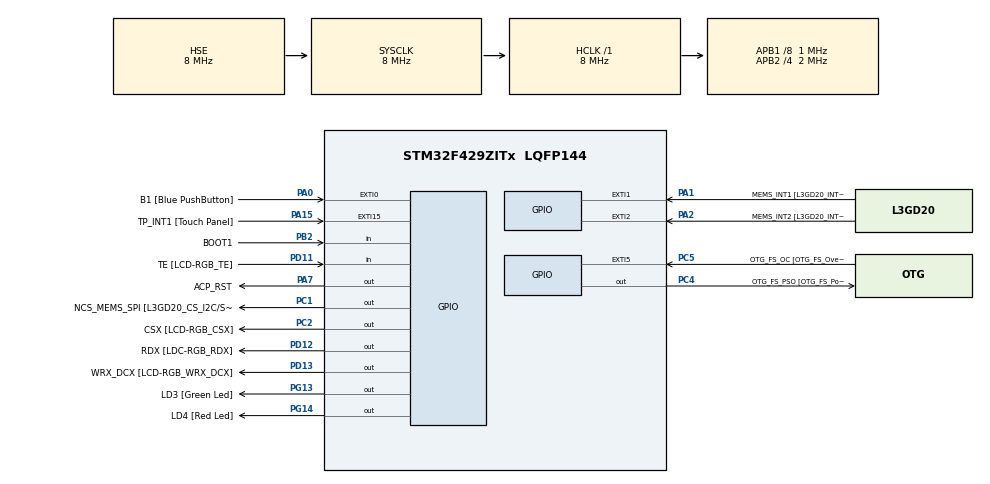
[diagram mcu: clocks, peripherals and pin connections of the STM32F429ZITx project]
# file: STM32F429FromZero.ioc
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Mcu.Family=STM32F4
Mcu.Name=STM32F429ZITx
Mcu.Package=LQFP144
NVIC.PriorityGroup=NVIC_PRIORITYGROUP_0
PA0/WKUP.GPIO_Label=B1 [Blue PushButton]
PA0/WKUP.GPIO_ModeDefaultEXTI=GPIO_MODE_EVT_RISING
PA0/WKUP.GPIO_PuPd=GPIO_NOPULL
PA0/WKUP.Signal=GPXTI0
PA1.GPIO_Label=MEMS_INT1 [L3GD20_INT1]
PA1.GPIO_ModeDefaultEXTI=GPIO_MODE_EVT_RISING
PA1.GPIO_PuPd=GPIO_NOPULL
PA1.Signal=GPXTI1
PA10.GPIO_Label=STLINK_TX [STM32F103CBT6_PA2]
PA10.Signal=USART1_RX
PA11.GPIO_Label=R4
PA11.GPIO_Mode=GPIO_MODE_AF_PP
PA11.GPIO_PuPd=GPIO_NOPULL
PA11.GPIO_Speed=GPIO_SPEED_FREQ_LOW
PA11.Signal=LTDC_R4
PA12.GPIO_Label=R5
PA12.GPIO_Mode=GPIO_MODE_AF_PP
PA12.GPIO_PuPd=GPIO_NOPULL
PA12.GPIO_Speed=GPIO_SPEED_FREQ_LOW
PA12.Signal=LTDC_R5
PA13.GPIO_Label=SWDIO
PA13.Signal=SYS_JTMS-SWDIO
PA14.GPIO_Label=SWCLK
PA14.Signal=SYS_JTCK-SWCLK
PA15.GPIO_Label=TP_INT1 [Touch Panel]
PA15.GPIO_ModeDefaultEXTI=GPIO_MODE_EVT_RISING
PA15.GPIO_PuPd=GPIO_NOPULL
PA15.Signal=GPXTI15
PA2.GPIO_Label=MEMS_INT2 [L3GD20_INT2]
PA2.GPIO_ModeDefaultEXTI=GPIO_MODE_EVT_RISING
PA2.GPIO_PuPd=GPIO_NOPULL
PA2.Signal=GPXTI2
PA3.GPIO_Label=B5
PA3.GPIO_Mode=GPIO_MODE_AF_PP
PA3.GPIO_PuPd=GPIO_NOPULL
PA3.GPIO_Speed=GPIO_SPEED_FREQ_LOW
PA3.Signal=LTDC_B5
PA4.GPIO_Label=VSYNC
PA4.GPIO_Mode=GPIO_MODE_AF_PP
PA4.GPIO_PuPd=GPIO_NOPULL
PA4.GPIO_Speed=GPIO_SPEED_FREQ_LOW
PA4.Signal=LTDC_VSYNC
PA6.GPIO_Label=G2
PA6.GPIO_Mode=GPIO_MODE_AF_PP
PA6.GPIO_PuPd=GPIO_NOPULL
PA6.GPIO_Speed=GPIO_SPEED_FREQ_LOW
PA6.Signal=LTDC_G2
PA7.GPIO_Label=ACP_RST
PA7.GPIO_Mode=GPIO_MODE_OUTPUT_PP
PA7.GPIO_PuPd=GPIO_NOPULL
PA7.GPIO_Speed=GPIO_SPEED_FREQ_LOW
PA7.Signal=GPIO_Output
PA8.GPIO_Label=I2C3_SCL [ACP/RF_SCL]
PA8.GPIO_Mode=GPIO_MODE_AF_OD
PA8.GPIO_PuPd=GPIO_NOPULL
PA8.GPIO_Speed=GPIO_SPEED_FREQ_LOW
PA8.Signal=I2C3_SCL
PA9.GPIO_Label=STLINK_RX [STM32F103CBT6_PA3]
PA9.Signal=USART1_TX
PB0.GPIO_Label=R3
PB0.GPIO_Mode=GPIO_MODE_AF_PP
PB0.GPIO_PuPd=GPIO_NOPULL
PB0.GPIO_Speed=GPIO_SPEED_FREQ_LOW
PB0.Signal=LTDC_R3
PB1.GPIO_Label=R6
PB1.GPIO_Mode=GPIO_MODE_AF_PP
PB1.GPIO_PuPd=GPIO_NOPULL
PB1.GPIO_Speed=GPIO_SPEED_FREQ_LOW
PB1.Signal=LTDC_R6
PB10.GPIO_Label=G4
PB10.GPIO_Mode=GPIO_MODE_AF_PP
PB10.GPIO_PuPd=GPIO_NOPULL
PB10.GPIO_Speed=GPIO_SPEED_FREQ_LOW
PB10.Signal=LTDC_G4
PB11.GPIO_Label=G5
PB11.GPIO_Mode=GPIO_MODE_AF_PP
PB11.GPIO_PuPd=GPIO_NOPULL
PB11.GPIO_Speed=GPIO_SPEED_FREQ_LOW
PB11.Signal=LTDC_G5
PB12.GPIO_Label=OTG_HS_ID
PB12.GPIO_Mode=GPIO_MODE_AF_PP
PB12.GPIO_PuPd=GPIO_NOPULL
PB12.GPIO_Speed=GPIO_SPEED_FREQ_LOW
PB12.Signal=USB_OTG_HS_ID
PB13.GPIO_Label=VBUS_HS
PB13.GPIO_Mode=GPIO_MODE_INPUT
PB13.GPIO_PuPd=GPIO_NOPULL
PB13.Signal=USB_OTG_HS_VBUS
PB14.GPIO_Label=OTG_HS_DM
PB14.GPIO_Mode=GPIO_MODE_AF_PP
PB14.GPIO_PuPd=GPIO_NOPULL
PB14.GPIO_Speed=GPIO_SPEED_FREQ_LOW
PB14.Signal=USB_OTG_HS_DM
PB15.GPIO_Label=OTG_HS_DP
PB15.GPIO_Mode=GPIO_MODE_AF_PP
PB15.GPIO_PuPd=GPIO_NOPULL
PB15.GPIO_Speed=GPIO_SPEED_FREQ_LOW
PB15.Signal=USB_OTG_HS_DP
PB2/BOOT1.GPIO_Label=BOOT1
PB2/BOOT1.GPIO_Mode=GPIO_MODE_INPUT
PB2/BOOT1.GPIO_PuPd=GPIO_NOPULL
PB2/BOOT1.Signal=GPIO_Input
PB5.GPIO_Label=SDCKE1
PB5.GPIO_Mode=GPIO_MODE_AF_PP
PB5.GPIO_PuPd=GPIO_NOPULL
PB5.GPIO_Speed=GPIO_SPEED_FREQ_VERY_HIGH
PB5.Signal=FMC_SDCKE1
PB6.GPIO_Label=SDNE1 [SDRAM_CS]
PB6.GPIO_Mode=GPIO_MODE_AF_PP
PB6.GPIO_PuPd=GPIO_NOPULL
PB6.GPIO_Speed=GPIO_SPEED_FREQ_VERY_HIGH
PB6.Signal=FMC_SDNE1
PB8.GPIO_Label=B6
PB8.GPIO_Mode=GPIO_MODE_AF_PP
PB8.GPIO_PuPd=GPIO_NOPULL
PB8.GPIO_Speed=GPIO_SPEED_FREQ_LOW
PB8.Signal=LTDC_B6
PB9.GPIO_Label=B7
PB9.GPIO_Mode=GPIO_MODE_AF_PP
PB9.GPIO_PuPd=GPIO_NOPULL
PB9.GPIO_Speed=GPIO_SPEED_FREQ_LOW
PB9.Signal=LTDC_B7
PC0.GPIO_Label=SDNWE
PC0.GPIO_Mode=GPIO_MODE_AF_PP
PC0.GPIO_PuPd=GPIO_NOPULL
PC0.GPIO_Speed=GPIO_SPEED_FREQ_VERY_HIGH
PC0.Signal=FMC_SDNWE
PC1.GPIO_Label=NCS_MEMS_SPI [L3GD20_CS_I2C/SPI]
PC1.GPIO_Mode=GPIO_MODE_OUTPUT_PP
PC1.GPIO_PuPd=GPIO_NOPULL
PC1.GPIO_Speed=GPIO_SPEED_FREQ_LOW
PC1.Signal=GPIO_Output
PC10.GPIO_Label=R2
PC10.GPIO_Mode=GPIO_MODE_AF_PP
PC10.GPIO_PuPd=GPIO_NOPULL
PC10.GPIO_Speed=GPIO_SPEED_FREQ_LOW
PC10.Signal=LTDC_R2
PC14/OSC32_IN.GPIO_Label=PC14-OSC32_IN
PC14/OSC32_IN.Signal=RCC_OSC32_IN
PC15/OSC32_OUT.GPIO_Label=PC15-OSC32_OUT
PC15/OSC32_OUT.Signal=RCC_OSC32_OUT
PC2.GPIO_Label=CSX [LCD-RGB_CSX]
PC2.GPIO_Mode=GPIO_MODE_OUTPUT_PP
PC2.GPIO_PuPd=GPIO_NOPULL
PC2.GPIO_Speed=GPIO_SPEED_FREQ_LOW
PC2.Signal=GPIO_Output
PC4.GPIO_Label=OTG_FS_PSO [OTG_FS_PowerSwitchOn]
PC4.GPIO_Mode=GPIO_MODE_OUTPUT_PP
PC4.GPIO_PuPd=GPIO_NOPULL
PC4.GPIO_Speed=GPIO_SPEED_FREQ_LOW
PC4.Signal=GPIO_Output
PC5.GPIO_Label=OTG_FS_OC [OTG_FS_OverCurrent]
PC5.GPIO_ModeDefaultEXTI=GPIO_MODE_EVT_RISING
PC5.Signal=GPXTI5
PC6.GPIO_Label=HSYNC
PC6.GPIO_Mode=GPIO_MODE_AF_PP
PC6.GPIO_PuPd=GPIO_NOPULL
PC6.GPIO_Speed=GPIO_SPEED_FREQ_LOW
PC6.Signal=LTDC_HSYNC
PC7.GPIO_Label=G6
PC7.GPIO_Mode=GPIO_MODE_AF_PP
PC7.GPIO_PuPd=GPIO_NOPULL
PC7.GPIO_Speed=GPIO_SPEED_FREQ_LOW
PC7.Signal=LTDC_G6
PC9.GPIO_Label=I2C3_SDA [ACP/RF_SDA]
PC9.GPIO_Mode=GPIO_MODE_AF_OD
PC9.GPIO_PuPd=GPIO_NOPULL
PC9.GPIO_Speed=GPIO_SPEED_FREQ_LOW
PC9.Signal=I2C3_SDA
PD0.GPIO_Label=D2
PD0.GPIO_Mode=GPIO_MODE_AF_PP
PD0.GPIO_PuPd=GPIO_NOPULL
PD0.GPIO_Speed=GPIO_SPEED_FREQ_VERY_HIGH
PD0.Signal=FMC_D2_DA2
PD1.GPIO_Label=D3
PD1.GPIO_Mode=GPIO_MODE_AF_PP
PD1.GPIO_PuPd=GPIO_NOPULL
PD1.GPIO_Speed=GPIO_SPEED_FREQ_VERY_HIGH
PD1.Signal=FMC_D3_DA3
PD10.GPIO_Label=D15
PD10.GPIO_Mode=GPIO_MODE_AF_PP
PD10.GPIO_PuPd=GPIO_NOPULL
PD10.GPIO_Speed=GPIO_SPEED_FREQ_VERY_HIGH
PD10.Signal=FMC_D15_DA15
PD11.GPIO_Label=TE [LCD-RGB_TE]
PD11.GPIO_Mode=GPIO_MODE_INPUT
PD11.GPIO_PuPd=GPIO_NOPULL
PD11.Signal=GPIO_Input
PD12.GPIO_Label=RDX [LDC-RGB_RDX]
PD12.GPIO_Mode=GPIO_MODE_OUTPUT_PP
PD12.GPIO_PuPd=GPIO_NOPULL
PD12.GPIO_Speed=GPIO_SPEED_FREQ_LOW
PD12.Signal=GPIO_Output
PD13.GPIO_Label=WRX_DCX [LCD-RGB_WRX_DCX]
PD13.GPIO_Mode=GPIO_MODE_OUTPUT_PP
PD13.GPIO_PuPd=GPIO_NOPULL
PD13.GPIO_Speed=GPIO_SPEED_FREQ_LOW
PD13.Signal=GPIO_Output
PD14.GPIO_Label=D0
PD14.GPIO_Mode=GPIO_MODE_AF_PP
PD14.GPIO_PuPd=GPIO_NOPULL
PD14.GPIO_Speed=GPIO_SPEED_FREQ_VERY_HIGH
PD14.Signal=FMC_D0_DA0
PD15.GPIO_Label=D1
PD15.GPIO_Mode=GPIO_MODE_AF_PP
PD15.GPIO_PuPd=GPIO_NOPULL
PD15.GPIO_Speed=GPIO_SPEED_FREQ_VERY_HIGH
PD15.Signal=FMC_D1_DA1
PD3.GPIO_Label=G7
PD3.GPIO_Mode=GPIO_MODE_AF_PP
PD3.GPIO_PuPd=GPIO_NOPULL
PD3.GPIO_Speed=GPIO_SPEED_FREQ_LOW
PD3.Signal=LTDC_G7
PD6.GPIO_Label=B2
PD6.GPIO_Mode=GPIO_MODE_AF_PP
PD6.GPIO_PuPd=GPIO_NOPULL
PD6.GPIO_Speed=GPIO_SPEED_FREQ_LOW
PD6.Signal=LTDC_B2
PD8.GPIO_Label=D13
PD8.GPIO_Mode=GPIO_MODE_AF_PP
PD8.GPIO_PuPd=GPIO_NOPULL
PD8.GPIO_Speed=GPIO_SPEED_FREQ_VERY_HIGH
PD8.Signal=FMC_D13_DA13
PD9.GPIO_Label=D14
PD9.GPIO_Mode=GPIO_MODE_AF_PP
PD9.GPIO_PuPd=GPIO_NOPULL
PD9.GPIO_Speed=GPIO_SPEED_FREQ_VERY_HIGH
PD9.Signal=FMC_D14_DA14
PE0.GPIO_Label=NBL0 [SDRAM_LDQM]
PE0.GPIO_Mode=GPIO_MODE_AF_PP
PE0.GPIO_PuPd=GPIO_NOPULL
PE0.GPIO_Speed=GPIO_SPEED_FREQ_VERY_HIGH
PE0.Signal=FMC_NBL0
PE1.GPIO_Label=NBL1 [SDRAM_UDQM]
PE1.GPIO_Mode=GPIO_MODE_AF_PP
PE1.GPIO_PuPd=GPIO_NOPULL
PE1.GPIO_Speed=GPIO_SPEED_FREQ_VERY_HIGH
PE1.Signal=FMC_NBL1
PE10.GPIO_Label=D7
PE10.GPIO_Mode=GPIO_MODE_AF_PP
PE10.GPIO_PuPd=GPIO_NOPULL
PE10.GPIO_Speed=GPIO_SPEED_FREQ_VERY_HIGH
PE10.Signal=FMC_D7_DA7
PE11.GPIO_Label=D8
PE11.GPIO_Mode=GPIO_MODE_AF_PP
PE11.GPIO_PuPd=GPIO_NOPULL
PE11.GPIO_Speed=GPIO_SPEED_FREQ_VERY_HIGH
PE11.Signal=FMC_D8_DA8
PE12.GPIO_Label=D9
PE12.GPIO_Mode=GPIO_MODE_AF_PP
PE12.GPIO_PuPd=GPIO_NOPULL
PE12.GPIO_Speed=GPIO_SPEED_FREQ_VERY_HIGH
PE12.Signal=FMC_D9_DA9
PE13.GPIO_Label=D10
PE13.GPIO_Mode=GPIO_MODE_AF_PP
PE13.GPIO_PuPd=GPIO_NOPULL
PE13.GPIO_Speed=GPIO_SPEED_FREQ_VERY_HIGH
PE13.Signal=FMC_D10_DA10
PE14.GPIO_Label=D11
PE14.GPIO_Mode=GPIO_MODE_AF_PP
PE14.GPIO_PuPd=GPIO_NOPULL
PE14.GPIO_Speed=GPIO_SPEED_FREQ_VERY_HIGH
PE14.Signal=FMC_D11_DA11
PE15.GPIO_Label=D12
PE15.GPIO_Mode=GPIO_MODE_AF_PP
PE15.GPIO_PuPd=GPIO_NOPULL
PE15.GPIO_Speed=GPIO_SPEED_FREQ_VERY_HIGH
PE15.Signal=FMC_D12_DA12
PE7.GPIO_Label=D4
PE7.GPIO_Mode=GPIO_MODE_AF_PP
PE7.GPIO_PuPd=GPIO_NOPULL
PE7.GPIO_Speed=GPIO_SPEED_FREQ_VERY_HIGH
PE7.Signal=FMC_D4_DA4
PE8.GPIO_Label=D5
PE8.GPIO_Mode=GPIO_MODE_AF_PP
PE8.GPIO_PuPd=GPIO_NOPULL
PE8.GPIO_Speed=GPIO_SPEED_FREQ_VERY_HIGH
PE8.Signal=FMC_D5_DA5
PE9.GPIO_Label=D6
PE9.GPIO_Mode=GPIO_MODE_AF_PP
PE9.GPIO_PuPd=GPIO_NOPULL
PE9.GPIO_Speed=GPIO_SPEED_FREQ_VERY_HIGH
PE9.Signal=FMC_D6_DA6
PF0.GPIO_Label=A0
PF0.GPIO_Mode=GPIO_MODE_AF_PP
PF0.GPIO_PuPd=GPIO_NOPULL
PF0.GPIO_Speed=GPIO_SPEED_FREQ_VERY_HIGH
PF0.Signal=FMC_A0
PF1.GPIO_Label=A1
PF1.GPIO_Mode=GPIO_MODE_AF_PP
PF1.GPIO_PuPd=GPIO_NOPULL
PF1.GPIO_Speed=GPIO_SPEED_FREQ_VERY_HIGH
PF1.Signal=FMC_A1
PF10.GPIO_Label=ENABLE [LCD-RGB_ENABLE]
PF10.GPIO_Mode=GPIO_MODE_AF_PP
PF10.GPIO_PuPd=GPIO_NOPULL
PF10.GPIO_Speed=GPIO_SPEED_FREQ_LOW
PF10.Signal=LTDC_DE
PF11.GPIO_Label=SDNRAS
PF11.GPIO_Mode=GPIO_MODE_AF_PP
PF11.GPIO_PuPd=GPIO_NOPULL
PF11.GPIO_Speed=GPIO_SPEED_FREQ_VERY_HIGH
PF11.Signal=FMC_SDNRAS
PF12.GPIO_Label=A6
PF12.GPIO_Mode=GPIO_MODE_AF_PP
PF12.GPIO_PuPd=GPIO_NOPULL
PF12.GPIO_Speed=GPIO_SPEED_FREQ_VERY_HIGH
PF12.Signal=FMC_A6
PF13.GPIO_Label=A7
PF13.GPIO_Mode=GPIO_MODE_AF_PP
PF13.GPIO_PuPd=GPIO_NOPULL
PF13.GPIO_Speed=GPIO_SPEED_FREQ_VERY_HIGH
PF13.Signal=FMC_A7
PF14.GPIO_Label=A8
PF14.GPIO_Mode=GPIO_MODE_AF_PP
PF14.GPIO_PuPd=GPIO_NOPULL
PF14.GPIO_Speed=GPIO_SPEED_FREQ_VERY_HIGH
PF14.Signal=FMC_A8
PF15.GPIO_Label=A9
PF15.GPIO_Mode=GPIO_MODE_AF_PP
PF15.GPIO_PuPd=GPIO_NOPULL
PF15.GPIO_Speed=GPIO_SPEED_FREQ_VERY_HIGH
PF15.Signal=FMC_A9
PF2.GPIO_Label=A2
PF2.GPIO_Mode=GPIO_MODE_AF_PP
PF2.GPIO_PuPd=GPIO_NOPULL
PF2.GPIO_Speed=GPIO_SPEED_FREQ_VERY_HIGH
PF2.Signal=FMC_A2
PF3.GPIO_Label=A3
PF3.GPIO_Mode=GPIO_MODE_AF_PP
PF3.GPIO_PuPd=GPIO_NOPULL
PF3.GPIO_Speed=GPIO_SPEED_FREQ_VERY_HIGH
PF3.Signal=FMC_A3
PF4.GPIO_Label=A4
PF4.GPIO_Mode=GPIO_MODE_AF_PP
PF4.GPIO_PuPd=GPIO_NOPULL
PF4.GPIO_Speed=GPIO_SPEED_FREQ_VERY_HIGH
PF4.Signal=FMC_A4
PF5.GPIO_Label=A5
PF5.GPIO_Mode=GPIO_MODE_AF_PP
PF5.GPIO_PuPd=GPIO_NOPULL
PF5.GPIO_Speed=GPIO_SPEED_FREQ_VERY_HIGH
PF5.Signal=FMC_A5
PF7.GPIO_Label=SPI5_SCK [L3GD20_SCL/SPC]
PF7.GPIO_Mode=GPIO_MODE_AF_PP
PF7.GPIO_PuPd=GPIO_NOPULL
PF7.GPIO_Speed=GPIO_SPEED_FREQ_LOW
PF7.Signal=SPI5_SCK
PF8.GPIO_Label=SPI5_MISO [L3GD20_SDO]
PF8.GPIO_Mode=GPIO_MODE_AF_PP
PF8.GPIO_PuPd=GPIO_NOPULL
PF8.GPIO_Speed=GPIO_SPEED_FREQ_LOW
PF8.Signal=SPI5_MISO
PF9.GPIO_Label=SPI5_MOSI [L3GD20_SDA/SDI/SDO]
PF9.GPIO_Mode=GPIO_MODE_AF_PP
PF9.GPIO_PuPd=GPIO_NOPULL
PF9.GPIO_Speed=GPIO_SPEED_FREQ_LOW
PF9.Signal=SPI5_MOSI
PG0.GPIO_Label=A10
PG0.GPIO_Mode=GPIO_MODE_AF_PP
PG0.GPIO_PuPd=GPIO_NOPULL
PG0.GPIO_Speed=GPIO_SPEED_FREQ_VERY_HIGH
PG0.Signal=FMC_A10
PG1.GPIO_Label=A11
PG1.GPIO_Mode=GPIO_MODE_AF_PP
PG1.GPIO_PuPd=GPIO_NOPULL
PG1.GPIO_Speed=GPIO_SPEED_FREQ_VERY_HIGH
PG1.Signal=FMC_A11
PG10.GPIO_Label=G3
PG10.GPIO_Mode=GPIO_MODE_AF_PP
PG10.GPIO_PuPd=GPIO_NOPULL
PG10.GPIO_Speed=GPIO_SPEED_FREQ_LOW
PG10.Signal=LTDC_G3
PG11.GPIO_Label=B3
PG11.GPIO_Mode=GPIO_MODE_AF_PP
PG11.GPIO_PuPd=GPIO_NOPULL
PG11.GPIO_Speed=GPIO_SPEED_FREQ_LOW
PG11.Signal=LTDC_B3
PG12.GPIO_Label=B4
PG12.GPIO_Mode=GPIO_MODE_AF_PP
PG12.GPIO_PuPd=GPIO_NOPULL
PG12.GPIO_Speed=GPIO_SPEED_FREQ_LOW
PG12.Signal=LTDC_B4
PG13.GPIO_Label=LD3 [Green Led]
PG13.GPIO_Mode=GPIO_MODE_OUTPUT_PP
PG13.GPIO_PuPd=GPIO_NOPULL
PG13.GPIO_Speed=GPIO_SPEED_FREQ_LOW
PG13.Signal=GPIO_Output
PG14.GPIO_Label=LD4 [Red Led]
PG14.GPIO_Mode=GPIO_MODE_OUTPUT_PP
PG14.GPIO_PuPd=GPIO_NOPULL
PG14.GPIO_Speed=GPIO_SPEED_FREQ_LOW
PG14.Signal=GPIO_Output
PG15.GPIO_Label=SDNCAS
PG15.GPIO_Mode=GPIO_MODE_AF_PP
PG15.GPIO_PuPd=GPIO_NOPULL
PG15.GPIO_Speed=GPIO_SPEED_FREQ_VERY_HIGH
PG15.Signal=FMC_SDNCAS
PG4.GPIO_Label=BA0
PG4.GPIO_Mode=GPIO_MODE_AF_PP
PG4.GPIO_PuPd=GPIO_NOPULL
PG4.GPIO_Speed=GPIO_SPEED_FREQ_VERY_HIGH
PG4.Signal=FMC_A14_BA0
PG5.GPIO_Label=BA1
PG5.GPIO_Mode=GPIO_MODE_AF_PP
PG5.GPIO_PuPd=GPIO_NOPULL
PG5.GPIO_Speed=GPIO_SPEED_FREQ_VERY_HIGH
PG5.Signal=FMC_A15_BA1
PG6.GPIO_Label=R7
PG6.GPIO_Mode=GPIO_MODE_AF_PP
PG6.GPIO_PuPd=GPIO_NOPULL
PG6.GPIO_Speed=GPIO_SPEED_FREQ_LOW
PG6.Signal=LTDC_R7
PG7.GPIO_Label=DOTCLK [LCT-RGB_DOTCLK]
PG7.GPIO_Mode=GPIO_MODE_AF_PP
PG7.GPIO_PuPd=GPIO_NOPULL
PG7.GPIO_Speed=GPIO_SPEED_FREQ_LOW
PG7.Signal=LTDC_CLK
PG8.GPIO_Label=SDCLK
PG8.GPIO_Mode=GPIO_MODE_AF_PP
PG8.GPIO_PuPd=GPIO_NOPULL
PG8.GPIO_Speed=GPIO_SPEED_FREQ_VERY_HIGH
PG8.Signal=FMC_SDCLK
PH0/OSC_IN.GPIO_Label=PH0-OSC_IN
PH0/OSC_IN.Mode=HSE-External-Oscillator
PH0/OSC_IN.Signal=RCC_OSC_IN
PH1/OSC_OUT.GPIO_Label=PH1-OSC_OUT
PH1/OSC_OUT.Mode=HSE-External-Oscillator
PH1/OSC_OUT.Signal=RCC_OSC_OUT
ProjectManager.HeapSize=0x200
ProjectManager.StackSize=0x400
ProjectManager.TargetToolchain=MDK-ARM V5
RCC.48MHZClocksFreq_Value=14285714.285714285
RCC.AHBFreq_Value=8000000
RCC.APB1CLKDivider=RCC_HCLK_DIV8
RCC.APB1Freq_Value=1000000
RCC.APB1TimFreq_Value=2000000
RCC.APB2CLKDivider=RCC_HCLK_DIV4
RCC.APB2Freq_Value=2000000
RCC.APB2TimFreq_Value=4000000
RCC.CortexFreq_Value=8000000
RCC.HCLKFreq_Value=8000000
RCC.HSE_VALUE=8000000
RCC.HSI_VALUE=16000000
RCC.LSE_VALUE=32768
RCC.PLLM=8
RCC.PLLN=50
RCC.PLLP=RCC_PLLP_DIV4
RCC.PLLQ=7
RCC.SYSCLKFreq_VALUE=8000000
RCC.SYSCLKSource=RCC_SYSCLKSOURCE_HSE
RCC.VCOOutputFreq_Value=100000000
SH.FMC_A0.0=FMC_A0
SH.FMC_A1.0=FMC_A1
SH.FMC_A10.0=FMC_A10
SH.FMC_A11.0=FMC_A11
SH.FMC_A14_BA0.0=FMC_BA0
SH.FMC_A15_BA1.0=FMC_BA1
SH.FMC_A2.0=FMC_A2
SH.FMC_A3.0=FMC_A3
SH.FMC_A4.0=FMC_A4
SH.FMC_A5.0=FMC_A5
SH.FMC_A6.0=FMC_A6
SH.FMC_A7.0=FMC_A7
SH.FMC_A8.0=FMC_A8
SH.FMC_A9.0=FMC_A9
SH.FMC_D0_DA0.0=FMC_D0
SH.FMC_D10_DA10.0=FMC_D10
SH.FMC_D11_DA11.0=FMC_D11
SH.FMC_D12_DA12.0=FMC_D12
SH.FMC_D13_DA13.0=FMC_D13
SH.FMC_D14_DA14.0=FMC_D14
SH.FMC_D15_DA15.0=FMC_D15
SH.FMC_D1_DA1.0=FMC_D1
SH.FMC_D2_DA2.0=FMC_D2
SH.FMC_D3_DA3.0=FMC_D3
SH.FMC_D4_DA4.0=FMC_D4
SH.FMC_D5_DA5.0=FMC_D5
SH.FMC_D6_DA6.0=FMC_D6
SH.FMC_D7_DA7.0=FMC_D7
SH.FMC_D8_DA8.0=FMC_D8
SH.FMC_D9_DA9.0=FMC_D9
SH.FMC_NBL0.0=FMC_NBL0
SH.FMC_NBL1.0=FMC_NBL1
SH.FMC_SDCLK.0=FMC_SDCLK
SH.FMC_SDNCAS.0=FMC_SDNCAS
SH.FMC_SDNRAS.0=FMC_SDNRAS
SH.FMC_SDNWE.0=FMC_SDNWE
board=STM32F429I-DISC1

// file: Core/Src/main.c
/* USER CODE BEGIN Header */
/**
  ******************************************************************************
  * @file           : main.c
  * @brief          : Main program body
  ******************************************************************************
  * @attention
  *
  * Copyright (c) 2023 STMicroelectronics.
  * All rights reserved.
  *
  * This software is licensed under terms that can be found in the LICENSE file
  * in the root directory of this software component.
  * If no LICENSE file comes with this software, it is provided AS-IS.
  *
  ******************************************************************************
  */
/* USER CODE END Header */
#include "main.h"

/* USER CODE BEGIN Includes */
#include "stm32f4xx_hal_tim.h"
/* USER CODE END Includes */

/* USER CODE BEGIN PD */
//#define ENABLE_BUTTON_POOL
#define ENABLE_BUTTON_INTERRUPTION
/* USER CODE END PD */

void SystemClock_Config(void);
static void MX_GPIO_Init(void);
/* USER CODE BEGIN PFP */
#ifdef ENABLE_BUTTON_INTERRUPTION
void EXTI0_IRQHandler(void);
void HAL_GPIO_EXTI_Callback(uint16_t GPIO_Pin);
#endif
/* USER CODE END PFP */

int main(void)
{

  /* MCU Configuration--------------------------------------------------------*/

  /* Reset of all peripherals, Initializes the Flash interface and the Systick. */
  HAL_Init();

  /* Configure the system clock */
  SystemClock_Config();

  /* Initialize all configured peripherals */
  MX_GPIO_Init();
  /* USER CODE BEGIN 2 */
	// config LED3 (green led)
	__HAL_RCC_GPIOG_CLK_ENABLE();

	GPIO_InitTypeDef xGpioInitStruct;
	xGpioInitStruct.Pin = GPIO_PIN_13;
	xGpioInitStruct.Mode = GPIO_MODE_OUTPUT_PP;
	xGpioInitStruct.Pull = GPIO_NOPULL;
	xGpioInitStruct.Speed = GPIO_SPEED_LOW;
	HAL_GPIO_Init(GPIOG ,&xGpioInitStruct);

	HAL_GPIO_WritePin(GPIOG, GPIO_PIN_13, GPIO_PIN_SET);
	// config user button (blue button)
	__HAL_RCC_GPIOA_CLK_ENABLE();

	xGpioInitStruct.Pin = GPIO_PIN_0;
	#ifdef ENABLE_BUTTON_POOL
	xGpioInitStruct.Mode = GPIO_MODE_INPUT;
	#elif defined(ENABLE_BUTTON_INTERRUPTION)
	xGpioInitStruct.Mode = GPIO_MODE_IT_RISING;
	#endif
	xGpioInitStruct.Pull = GPIO_NOPULL;
	xGpioInitStruct.Speed = GPIO_SPEED_LOW;
	HAL_GPIO_Init(GPIOA, &xGpioInitStruct);

	#ifdef ENABLE_BUTTON_INTERRUPTION
	HAL_NVIC_SetPriority(EXTI0_IRQn, 0, 0);
	HAL_NVIC_EnableIRQ(EXTI0_IRQn);
	#endif
  /* USER CODE END 2 */

  /* Infinite loop */
  /* USER CODE BEGIN WHILE */
	#ifdef ENABLE_BUTTON_POOL
	uint8_t isButtonClicked = 0;
	#endif
  while (1)
  {
    /* USER CODE END WHILE */

    /* USER CODE BEGIN 3 */
		#ifdef ENABLE_BUTTON_POOL
		if(HAL_GPIO_ReadPin(GPIOA, GPIO_PIN_0) && isButtonClicked==0)
		{
			HAL_GPIO_TogglePin(GPIOG, GPIO_PIN_13);
			isButtonClicked = 1;
		}
		else if(HAL_GPIO_ReadPin(GPIOA, GPIO_PIN_0) == GPIO_PIN_RESET)
		{
			isButtonClicked = 0;
		}
		#endif
		HAL_Delay(100);
  }
  /* USER CODE END 3 */
}

void SystemClock_Config(void)
{
  RCC_OscInitTypeDef RCC_OscInitStruct = {0};
  RCC_ClkInitTypeDef RCC_ClkInitStruct = {0};

  /** Configure the main internal regulator output voltage
  */
  __HAL_RCC_PWR_CLK_ENABLE();
  __HAL_PWR_VOLTAGESCALING_CONFIG(PWR_REGULATOR_VOLTAGE_SCALE3);

  /** Initializes the RCC Oscillators according to the specified parameters
  * in the RCC_OscInitTypeDef structure.
  */
  RCC_OscInitStruct.OscillatorType = RCC_OSCILLATORTYPE_HSE;
  RCC_OscInitStruct.HSEState = RCC_HSE_ON;
  RCC_OscInitStruct.PLL.PLLState = RCC_PLL_NONE;
  if (HAL_RCC_OscConfig(&RCC_OscInitStruct) != HAL_OK)
  {
    Error_Handler();
  }

  /** Initializes the CPU, AHB and APB buses clocks
  */
  RCC_ClkInitStruct.ClockType = RCC_CLOCKTYPE_HCLK|RCC_CLOCKTYPE_SYSCLK
                              |RCC_CLOCKTYPE_PCLK1|RCC_CLOCKTYPE_PCLK2;
  RCC_ClkInitStruct.SYSCLKSource = RCC_SYSCLKSOURCE_HSE;
  RCC_ClkInitStruct.AHBCLKDivider = RCC_SYSCLK_DIV1;
  RCC_ClkInitStruct.APB1CLKDivider = RCC_HCLK_DIV8;
  RCC_ClkInitStruct.APB2CLKDivider = RCC_HCLK_DIV4;

  if (HAL_RCC_ClockConfig(&RCC_ClkInitStruct, FLASH_LATENCY_0) != HAL_OK)
  {
    Error_Handler();
  }
}

static void MX_GPIO_Init(void)
{
  GPIO_InitTypeDef GPIO_InitStruct = {0};

  /* GPIO Ports Clock Enable */
  __HAL_RCC_GPIOC_CLK_ENABLE();
  __HAL_RCC_GPIOF_CLK_ENABLE();
  __HAL_RCC_GPIOH_CLK_ENABLE();
  __HAL_RCC_GPIOA_CLK_ENABLE();
  __HAL_RCC_GPIOB_CLK_ENABLE();
  __HAL_RCC_GPIOG_CLK_ENABLE();
  __HAL_RCC_GPIOE_CLK_ENABLE();
  __HAL_RCC_GPIOD_CLK_ENABLE();

  /*Configure GPIO pin Output Level */
  HAL_GPIO_WritePin(GPIOC, NCS_MEMS_SPI_Pin|CSX_Pin|OTG_FS_PSO_Pin, GPIO_PIN_RESET);

  /*Configure GPIO pin Output Level */
  HAL_GPIO_WritePin(ACP_RST_GPIO_Port, ACP_RST_Pin, GPIO_PIN_RESET);

  /*Configure GPIO pin Output Level */
  HAL_GPIO_WritePin(GPIOD, RDX_Pin|WRX_DCX_Pin, GPIO_PIN_RESET);

  /*Configure GPIO pin Output Level */
  HAL_GPIO_WritePin(GPIOG, LD3_Pin|LD4_Pin, GPIO_PIN_RESET);

  /*Configure GPIO pins : A0_Pin A1_Pin A2_Pin A3_Pin
                           A4_Pin A5_Pin SDNRAS_Pin A6_Pin
                           A7_Pin A8_Pin A9_Pin */
  GPIO_InitStruct.Pin = A0_Pin|A1_Pin|A2_Pin|A3_Pin
                          |A4_Pin|A5_Pin|SDNRAS_Pin|A6_Pin
                          |A7_Pin|A8_Pin|A9_Pin;
  GPIO_InitStruct.Mode = GPIO_MODE_AF_PP;
  GPIO_InitStruct.Pull = GPIO_NOPULL;
  GPIO_InitStruct.Speed = GPIO_SPEED_FREQ_VERY_HIGH;
  GPIO_InitStruct.Alternate = GPIO_AF12_FMC;
  HAL_GPIO_Init(GPIOF, &GPIO_InitStruct);

  /*Configure GPIO pins : SPI5_SCK_Pin SPI5_MISO_Pin SPI5_MOSI_Pin */
  GPIO_InitStruct.Pin = SPI5_SCK_Pin|SPI5_MISO_Pin|SPI5_MOSI_Pin;
  GPIO_InitStruct.Mode = GPIO_MODE_AF_PP;
  GPIO_InitStruct.Pull = GPIO_NOPULL;
  GPIO_InitStruct.Speed = GPIO_SPEED_FREQ_LOW;
  GPIO_InitStruct.Alternate = GPIO_AF5_SPI5;
  HAL_GPIO_Init(GPIOF, &GPIO_InitStruct);

  /*Configure GPIO pin : ENABLE_Pin */
  GPIO_InitStruct.Pin = ENABLE_Pin;
  GPIO_InitStruct.Mode = GPIO_MODE_AF_PP;
  GPIO_InitStruct.Pull = GPIO_NOPULL;
  GPIO_InitStruct.Speed = GPIO_SPEED_FREQ_LOW;
  GPIO_InitStruct.Alternate = GPIO_AF14_LTDC;
  HAL_GPIO_Init(ENABLE_GPIO_Port, &GPIO_InitStruct);

  /*Configure GPIO pin : SDNWE_Pin */
  GPIO_InitStruct.Pin = SDNWE_Pin;
  GPIO_InitStruct.Mode = GPIO_MODE_AF_PP;
  GPIO_InitStruct.Pull = GPIO_NOPULL;
  GPIO_InitStruct.Speed = GPIO_SPEED_FREQ_VERY_HIGH;
  GPIO_InitStruct.Alternate = GPIO_AF12_FMC;
  HAL_GPIO_Init(SDNWE_GPIO_Port, &GPIO_InitStruct);

  /*Configure GPIO pins : NCS_MEMS_SPI_Pin CSX_Pin OTG_FS_PSO_Pin */
  GPIO_InitStruct.Pin = NCS_MEMS_SPI_Pin|CSX_Pin|OTG_FS_PSO_Pin;
  GPIO_InitStruct.Mode = GPIO_MODE_OUTPUT_PP;
  GPIO_InitStruct.Pull = GPIO_NOPULL;
  GPIO_InitStruct.Speed = GPIO_SPEED_FREQ_LOW;
  HAL_GPIO_Init(GPIOC, &GPIO_InitStruct);

  /*Configure GPIO pins : B1_Pin MEMS_INT1_Pin MEMS_INT2_Pin TP_INT1_Pin */
  GPIO_InitStruct.Pin = B1_Pin|MEMS_INT1_Pin|MEMS_INT2_Pin|TP_INT1_Pin;
  GPIO_InitStruct.Mode = GPIO_MODE_EVT_RISING;
  GPIO_InitStruct.Pull = GPIO_NOPULL;
  HAL_GPIO_Init(GPIOA, &GPIO_InitStruct);

  /*Configure GPIO pins : B5_Pin VSYNC_Pin G2_Pin R4_Pin
                           R5_Pin */
  GPIO_InitStruct.Pin = B5_Pin|VSYNC_Pin|G2_Pin|R4_Pin
                          |R5_Pin;
  GPIO_InitStruct.Mode = GPIO_MODE_AF_PP;
  GPIO_InitStruct.Pull = GPIO_NOPULL;
  GPIO_InitStruct.Speed = GPIO_SPEED_FREQ_LOW;
  GPIO_InitStruct.Alternate = GPIO_AF14_LTDC;
  HAL_GPIO_Init(GPIOA, &GPIO_InitStruct);

  /*Configure GPIO pin : ACP_RST_Pin */
  GPIO_InitStruct.Pin = ACP_RST_Pin;
  GPIO_InitStruct.Mode = GPIO_MODE_OUTPUT_PP;
  GPIO_InitStruct.Pull = GPIO_NOPULL;
  GPIO_InitStruct.Speed = GPIO_SPEED_FREQ_LOW;
  HAL_GPIO_Init(ACP_RST_GPIO_Port, &GPIO_InitStruct);

  /*Configure GPIO pin : OTG_FS_OC_Pin */
  GPIO_InitStruct.Pin = OTG_FS_OC_Pin;
  GPIO_InitStruct.Mode = GPIO_MODE_EVT_RISING;
  GPIO_InitStruct.Pull = GPIO_NOPULL;
  HAL_GPIO_Init(OTG_FS_OC_GPIO_Port, &GPIO_InitStruct);

  /*Configure GPIO pins : R3_Pin R6_Pin */
  GPIO_InitStruct.Pin = R3_Pin|R6_Pin;
  GPIO_InitStruct.Mode = GPIO_MODE_AF_PP;
  GPIO_InitStruct.Pull = GPIO_NOPULL;
  GPIO_InitStruct.Speed = GPIO_SPEED_FREQ_LOW;
  GPIO_InitStruct.Alternate = GPIO_AF9_LTDC;
  HAL_GPIO_Init(GPIOB, &GPIO_InitStruct);

  /*Configure GPIO pin : BOOT1_Pin */
  GPIO_InitStruct.Pin = BOOT1_Pin;
  GPIO_InitStruct.Mode = GPIO_MODE_INPUT;
  GPIO_InitStruct.Pull = GPIO_NOPULL;
  HAL_GPIO_Init(BOOT1_GPIO_Port, &GPIO_InitStruct);

  /*Configure GPIO pins : A10_Pin A11_Pin BA0_Pin BA1_Pin
                           SDCLK_Pin SDNCAS_Pin */
  GPIO_InitStruct.Pin = A10_Pin|A11_Pin|BA0_Pin|BA1_Pin
                          |SDCLK_Pin|SDNCAS_Pin;
  GPIO_InitStruct.Mode = GPIO_MODE_AF_PP;
  GPIO_InitStruct.Pull = GPIO_NOPULL;
  GPIO_InitStruct.Speed = GPIO_SPEED_FREQ_VERY_HIGH;
  GPIO_InitStruct.Alternate = GPIO_AF12_FMC;
  HAL_GPIO_Init(GPIOG, &GPIO_InitStruct);

  /*Configure GPIO pins : D4_Pin D5_Pin D6_Pin D7_Pin
                           D8_Pin D9_Pin D10_Pin D11_Pin
                           D12_Pin NBL0_Pin NBL1_Pin */
  GPIO_InitStruct.Pin = D4_Pin|D5_Pin|D6_Pin|D7_Pin
                          |D8_Pin|D9_Pin|D10_Pin|D11_Pin
                          |D12_Pin|NBL0_Pin|NBL1_Pin;
  GPIO_InitStruct.Mode = GPIO_MODE_AF_PP;
  GPIO_InitStruct.Pull = GPIO_NOPULL;
  GPIO_InitStruct.Speed = GPIO_SPEED_FREQ_VERY_HIGH;
  GPIO_InitStruct.Alternate = GPIO_AF12_FMC;
  HAL_GPIO_Init(GPIOE, &GPIO_InitStruct);

  /*Configure GPIO pins : G4_Pin G5_Pin B6_Pin B7_Pin */
  GPIO_InitStruct.Pin = G4_Pin|G5_Pin|B6_Pin|B7_Pin;
  GPIO_InitStruct.Mode = GPIO_MODE_AF_PP;
  GPIO_InitStruct.Pull = GPIO_NOPULL;
  GPIO_InitStruct.Speed = GPIO_SPEED_FREQ_LOW;
  GPIO_InitStruct.Alternate = GPIO_AF14_LTDC;
  HAL_GPIO_Init(GPIOB, &GPIO_InitStruct);

  /*Configure GPIO pins : OTG_HS_ID_Pin OTG_HS_DM_Pin OTG_HS_DP_Pin */
  GPIO_InitStruct.Pin = OTG_HS_ID_Pin|OTG_HS_DM_Pin|OTG_HS_DP_Pin;
  GPIO_InitStruct.Mode = GPIO_MODE_AF_PP;
  GPIO_InitStruct.Pull = GPIO_NOPULL;
  GPIO_InitStruct.Speed = GPIO_SPEED_FREQ_LOW;
  GPIO_InitStruct.Alternate = GPIO_AF12_OTG_HS_FS;
  HAL_GPIO_Init(GPIOB, &GPIO_InitStruct);

  /*Configure GPIO pin : VBUS_HS_Pin */
  GPIO_InitStruct.Pin = VBUS_HS_Pin;
  GPIO_InitStruct.Mode = GPIO_MODE_INPUT;
  GPIO_InitStruct.Pull = GPIO_NOPULL;
  HAL_GPIO_Init(VBUS_HS_GPIO_Port, &GPIO_InitStruct);

  /*Configure GPIO pins : D13_Pin D14_Pin D15_Pin D0_Pin
                           D1_Pin D2_Pin D3_Pin */
  GPIO_InitStruct.Pin = D13_Pin|D14_Pin|D15_Pin|D0_Pin
                          |D1_Pin|D2_Pin|D3_Pin;
  GPIO_InitStruct.Mode = GPIO_MODE_AF_PP;
  GPIO_InitStruct.Pull = GPIO_NOPULL;
  GPIO_InitStruct.Speed = GPIO_SPEED_FREQ_VERY_HIGH;
  GPIO_InitStruct.Alternate = GPIO_AF12_FMC;
  HAL_GPIO_Init(GPIOD, &GPIO_InitStruct);

  /*Configure GPIO pin : TE_Pin */
  GPIO_InitStruct.Pin = TE_Pin;
  GPIO_InitStruct.Mode = GPIO_MODE_INPUT;
  GPIO_InitStruct.Pull = GPIO_NOPULL;
  HAL_GPIO_Init(TE_GPIO_Port, &GPIO_InitStruct);

  /*Configure GPIO pins : RDX_Pin WRX_DCX_Pin */
  GPIO_InitStruct.Pin = RDX_Pin|WRX_DCX_Pin;
  GPIO_InitStruct.Mode = GPIO_MODE_OUTPUT_PP;
  GPIO_InitStruct.Pull = GPIO_NOPULL;
  GPIO_InitStruct.Speed = GPIO_SPEED_FREQ_LOW;
  HAL_GPIO_Init(GPIOD, &GPIO_InitStruct);

  /*Configure GPIO pins : R7_Pin DOTCLK_Pin B3_Pin */
  GPIO_InitStruct.Pin = R7_Pin|DOTCLK_Pin|B3_Pin;
  GPIO_InitStruct.Mode = GPIO_MODE_AF_PP;
  GPIO_InitStruct.Pull = GPIO_NOPULL;
  GPIO_InitStruct.Speed = GPIO_SPEED_FREQ_LOW;
  GPIO_InitStruct.Alternate = GPIO_AF14_LTDC;
  HAL_GPIO_Init(GPIOG, &GPIO_InitStruct);

  /*Configure GPIO pins : HSYNC_Pin G6_Pin R2_Pin */
  GPIO_InitStruct.Pin = HSYNC_Pin|G6_Pin|R2_Pin;
  GPIO_InitStruct.Mode = GPIO_MODE_AF_PP;
  GPIO_InitStruct.Pull = GPIO_NOPULL;
  GPIO_InitStruct.Speed = GPIO_SPEED_FREQ_LOW;
  GPIO_InitStruct.Alternate = GPIO_AF14_LTDC;
  HAL_GPIO_Init(GPIOC, &GPIO_InitStruct);

  /*Configure GPIO pin : I2C3_SDA_Pin */
  GPIO_InitStruct.Pin = I2C3_SDA_Pin;
  GPIO_InitStruct.Mode = GPIO_MODE_AF_OD;
  GPIO_InitStruct.Pull = GPIO_NOPULL;
  GPIO_InitStruct.Speed = GPIO_SPEED_FREQ_LOW;
  GPIO_InitStruct.Alternate = GPIO_AF4_I2C3;
  HAL_GPIO_Init(I2C3_SDA_GPIO_Port, &GPIO_InitStruct);

  /*Configure GPIO pin : I2C3_SCL_Pin */
  GPIO_InitStruct.Pin = I2C3_SCL_Pin;
  GPIO_InitStruct.Mode = GPIO_MODE_AF_OD;
  GPIO_InitStruct.Pull = GPIO_NOPULL;
  GPIO_InitStruct.Speed = GPIO_SPEED_FREQ_LOW;
  GPIO_InitStruct.Alternate = GPIO_AF4_I2C3;
  HAL_GPIO_Init(I2C3_SCL_GPIO_Port, &GPIO_InitStruct);

  /*Configure GPIO pins : STLINK_RX_Pin STLINK_TX_Pin */
  GPIO_InitStruct.Pin = STLINK_RX_Pin|STLINK_TX_Pin;
  GPIO_InitStruct.Mode = GPIO_MODE_AF_PP;
  GPIO_InitStruct.Pull = GPIO_NOPULL;
  GPIO_InitStruct.Speed = GPIO_SPEED_FREQ_VERY_HIGH;
  GPIO_InitStruct.Alternate = GPIO_AF7_USART1;
  HAL_GPIO_Init(GPIOA, &GPIO_InitStruct);

  /*Configure GPIO pins : G7_Pin B2_Pin */
  GPIO_InitStruct.Pin = G7_Pin|B2_Pin;
  GPIO_InitStruct.Mode = GPIO_MODE_AF_PP;
  GPIO_InitStruct.Pull = GPIO_NOPULL;
  GPIO_InitStruct.Speed = GPIO_SPEED_FREQ_LOW;
  GPIO_InitStruct.Alternate = GPIO_AF14_LTDC;
  HAL_GPIO_Init(GPIOD, &GPIO_InitStruct);

  /*Configure GPIO pins : G3_Pin B4_Pin */
  GPIO_InitStruct.Pin = G3_Pin|B4_Pin;
  GPIO_InitStruct.Mode = GPIO_MODE_AF_PP;
  GPIO_InitStruct.Pull = GPIO_NOPULL;
  GPIO_InitStruct.Speed = GPIO_SPEED_FREQ_LOW;
  GPIO_InitStruct.Alternate = GPIO_AF9_LTDC;
  HAL_GPIO_Init(GPIOG, &GPIO_InitStruct);

  /*Configure GPIO pins : LD3_Pin LD4_Pin */
  GPIO_InitStruct.Pin = LD3_Pin|LD4_Pin;
  GPIO_InitStruct.Mode = GPIO_MODE_OUTPUT_PP;
  GPIO_InitStruct.Pull = GPIO_NOPULL;
  GPIO_InitStruct.Speed = GPIO_SPEED_FREQ_LOW;
  HAL_GPIO_Init(GPIOG, &GPIO_InitStruct);

  /*Configure GPIO pins : SDCKE1_Pin SDNE1_Pin */
  GPIO_InitStruct.Pin = SDCKE1_Pin|SDNE1_Pin;
  GPIO_InitStruct.Mode = GPIO_MODE_AF_PP;
  GPIO_InitStruct.Pull = GPIO_NOPULL;
  GPIO_InitStruct.Speed = GPIO_SPEED_FREQ_VERY_HIGH;
  GPIO_InitStruct.Alternate = GPIO_AF12_FMC;
  HAL_GPIO_Init(GPIOB, &GPIO_InitStruct);

}

/* USER CODE BEGIN 4 */
#ifdef ENABLE_BUTTON_INTERRUPTION
void EXTI0_IRQHandler(void)
{
  /* USER CODE BEGIN EXTI0_IRQn 0 */

  /* USER CODE END EXTI0_IRQn 0 */
  HAL_GPIO_EXTI_IRQHandler(GPIO_PIN_0);
  /* USER CODE BEGIN EXTI0_IRQn 1 */

  /* USER CODE END EXTI0_IRQn 1 */
}
void HAL_GPIO_EXTI_Callback(uint16_t GPIO_Pin)
{
	if(GPIO_Pin == GPIO_PIN_0)
	{
		HAL_GPIO_TogglePin(GPIOG, GPIO_PIN_13);
	}
}
#endif
/* USER CODE END 4 */

void Error_Handler(void)
{
  __disable_irq();
  while (1)
  {
  }
}
